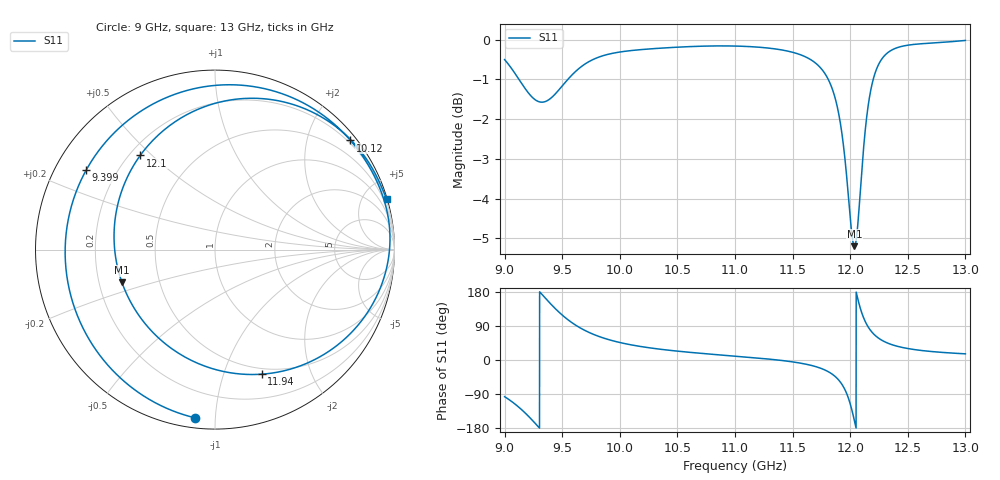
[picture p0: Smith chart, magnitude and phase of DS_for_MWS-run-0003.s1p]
! TOUCHSTONE file generated by CST DESIGN STUDIO
! Date and time: Tue Feb  4 16:20:38 2025
! Project name: C:\Work\MatlabApps\UnitCellOptimizationMatlab\CST\unitcell.cst
! Tree item: Tasks\Sweep1\SPara1\S-Parameters
! Header version: 2024
! Port assignment regex: !\s*Touchstone port\s*([0-9]+)\s*=\s*(CST MWS port|CST DES external port|CST DES block port)\s*(.+)\s* \(\"(.*)\"\)(\s*mode\s*([0-9]+))?.*
! Touchstone port assignment:
! Touchstone port 1 = CST DES external port 1 ("")
# GHz S MA R 50
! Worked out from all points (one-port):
!   4001 points, 9 GHz to 13 GHz, reference 50 ohm
!   lowest |S11| = -5.2 dB at 12.04 GHz (marker M1), VSWR 3.44, Z = 14.9 - j7.77 ohm
!   |S11| at or under -10 dB: nowhere
!   S11 on the Smith chart (normalised r, x): 9 GHz: 0.05, -0.89; 9.399 GHz: 0.09, +0.28; 10.12 GHz: 0.14, +2.83; 11.94 GHz: 0.44, -1.35; 12.1 GHz: 0.24, +0.46; 13 GHz: 0.06, +7.00
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9  0.9437 -96.8
9.12  0.8932 -123.7
9.239  0.8464 -158.5
9.318  0.8342 175.2
9.399  0.8434 148.3
9.5  0.8743 118.6
9.606  0.909 94.1
9.741  0.9397 71.6
10  0.9646 46.2
10.118  0.9694 38.9
10.5  0.9782 23.4
11  0.9815 10.2
11.5  0.9639 -5.0
11.795  0.8992 -28.5
11.876  0.837 -45.3
11.939  0.741 -69.5
11.972  0.6662 -90.4
12  0.598 -115.5
12.037  0.5498 -160.7
12.065  0.583 162.4
12.096  0.6699 128.5
12.125  0.7546 105.2
12.156  0.8258 87.3
12.202  0.8935 69.2
12.253  0.9345 56.2
12.353  0.9688 41.4
12.5  0.9839 30.3
13  0.9975 16.3
